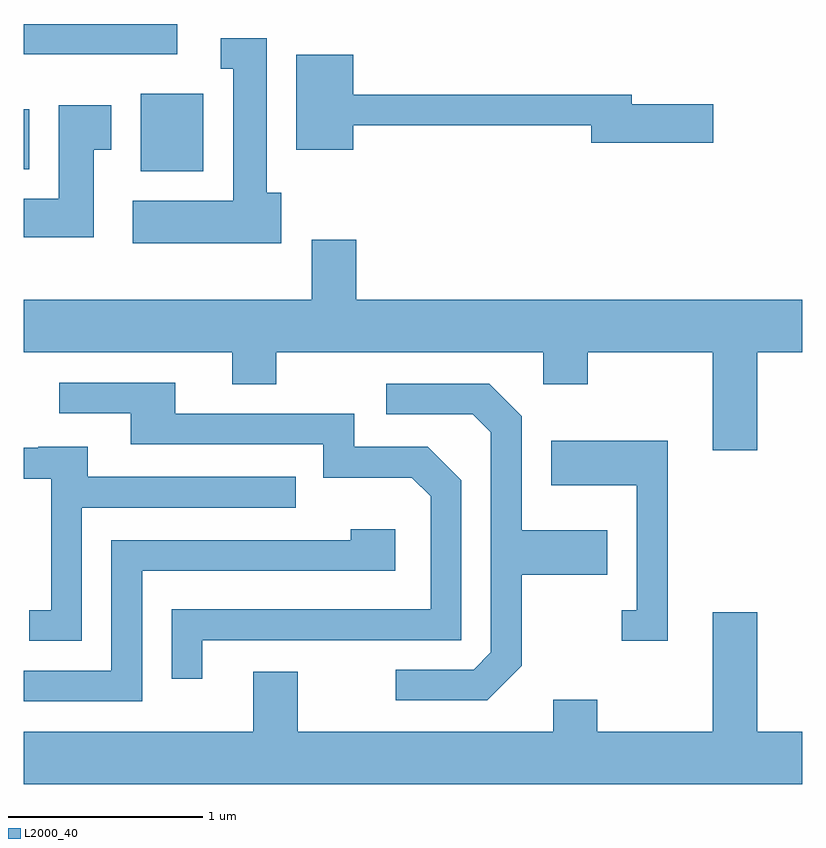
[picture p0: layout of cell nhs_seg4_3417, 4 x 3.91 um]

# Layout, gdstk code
import gdstk
lib = gdstk.Library(unit=1e-6, precision=1e-09)
def R(c, l, rs):  # rectangles x0, y0, x1, y1
    for r in rs: c.add(gdstk.rectangle(r[:2], r[2:], *l))
def P(c, l, *ps):  # polygons
    for p in ps: c.add(gdstk.Polygon(p, *l))
L2000_40 = (2000, 40)

nhs_seg4_3417 = lib.new_cell('nhs_seg4_3417')
R(nhs_seg4_3417, L2000_40, [(286.211,1291.226,286.534,1291.624), (285.611,1291.236,285.639,1291.544), (285.611,1291.826,286.399,1291.982)])
P(nhs_seg4_3417, L2000_40, [(286.934,1291.114),(286.859,1291.114),(286.859,1291.909),(286.623,1291.909),(286.623,1291.751),(286.686,1291.751),(286.686,1291.074),(286.171,1291.074),(286.171,1290.856),(286.934,1290.856)],
  [(287.304,1291.461),(288.526,1291.461),(288.526,1291.371),(289.154,1291.371),(289.154,1291.569),(288.734,1291.569),(288.734,1291.619),(287.304,1291.619),(287.304,1291.824),(287.011,1291.824),(287.011,1291.336),(287.304,1291.336)],
  [(285.969,1291.336),(286.059,1291.336),(286.059,1291.564),(285.791,1291.564),(285.791,1291.084),(285.611,1291.084),(285.611,1290.886),(285.969,1290.886)],
  [(289.379,1290.296),(289.611,1290.296),(289.611,1290.564),(287.319,1290.564),(287.319,1290.874),(287.091,1290.874),(287.091,1290.564),(285.611,1290.564),(285.611,1290.296),(286.681,1290.296),(286.681,1290.131),(286.909,1290.131),(286.909,1290.296),(288.281,1290.296),(288.281,1290.131),(288.509,1290.131),(288.509,1290.296),(289.151,1290.296),(289.151,1289.791),(289.379,1289.791)],
  [(286.529,1288.816),(287.859,1288.816),(287.859,1289.637),(287.687,1289.809),(287.309,1289.809),(287.309,1289.979),(286.389,1289.979),(286.389,1290.139),(285.793,1290.139),(285.793,1289.981),(286.161,1289.981),(286.161,1289.821),(287.151,1289.821),(287.151,1289.651),(287.604,1289.651),(287.701,1289.554),(287.701,1288.974),(286.371,1288.974),(286.371,1288.618),(286.529,1288.618)],
  [(288.169,1288.684),(288.169,1289.151),(288.609,1289.151),(288.609,1289.379),(288.169,1289.379),(288.169,1289.967),(288.002,1290.134),(287.473,1290.134),(287.473,1289.976),(287.919,1289.976),(288.011,1289.884),(288.011,1288.752),(287.924,1288.664),(287.523,1288.664),(287.523,1288.506),(287.992,1288.506)],
  [(288.919,1289.839),(288.321,1289.839),(288.321,1289.611),(288.761,1289.611),(288.761,1288.969),(288.683,1288.969),(288.683,1288.811),(288.919,1288.811)],
  [(285.909,1289.496),(287.008,1289.496),(287.008,1289.654),(285.939,1289.654),(285.939,1289.809),(285.685,1289.809),(285.685,1289.804),(285.611,1289.804),(285.611,1289.646),(285.751,1289.646),(285.751,1288.969),(285.638,1288.969),(285.638,1288.811),(285.909,1288.811)],
  [(286.219,1289.171),(287.519,1289.171),(287.519,1289.384),(287.291,1289.384),(287.291,1289.329),(286.061,1289.329),(286.061,1288.659),(285.611,1288.659),(285.611,1288.501),(286.219,1288.501)],
  [(289.611,1288.344),(289.379,1288.344),(289.379,1288.959),(289.151,1288.959),(289.151,1288.344),(288.559,1288.344),(288.559,1288.509),(288.331,1288.509),(288.331,1288.344),(287.019,1288.344),(287.019,1288.654),(286.791,1288.654),(286.791,1288.344),(285.611,1288.344),(285.611,1288.076),(289.611,1288.076)])

lib.write_gds('nhs_seg4_3417.gds')
